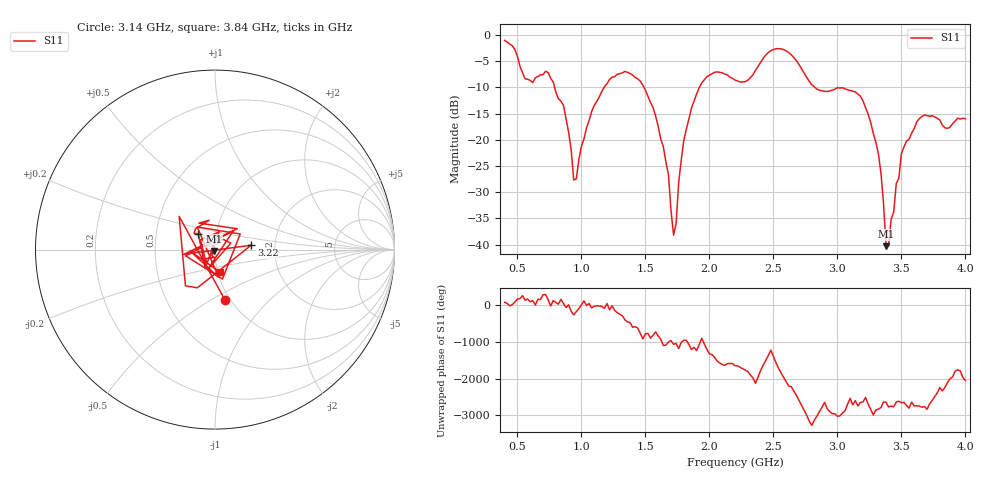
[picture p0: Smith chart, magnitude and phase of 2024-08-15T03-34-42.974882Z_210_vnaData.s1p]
!Created with skrf (http://scikit-rf.org).
# Hz S RI R 50.0
!freq ReS11 ImS11
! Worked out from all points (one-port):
!   181 points, 400 MHz to 4 GHz, reference 50 ohm
!   lowest |S11| = -40.3 dB at 3.38 GHz (marker M1), VSWR 1.02, Z = 49.5 - j0.816 ohm
!   |S11| at or under -10 dB: 790.6 MHz to 1.178 GHz (386.9 MHz wide, 39.3 % of centre); 1.488 GHz to 1.922 GHz (433.7 MHz wide, 25.4 % of centre); 2.825 GHz to end of sweep
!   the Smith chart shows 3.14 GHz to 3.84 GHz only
!   S11 on the Smith chart (normalised r, x): 3.14 GHz: 0.95, -0.58; 3.22 GHz: 1.50, +0.08; 3.6 GHz: 0.82, +0.15; 3.84 GHz: 1.03, -0.26
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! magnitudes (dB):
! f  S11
! 400 MHz  -1.1
! 560 MHz  -8.4
! 740 MHz  -7.2
! 860 MHz  -13.4
! 940 MHz  -27.7
! 960 MHz  -27.5
! 1.08 GHz  -14.6
! 1.3 GHz  -7.4
! 1.56 GHz  -13.9
! 1.68 GHz  -26.6
! 1.72 GHz  -38.2
! 1.76 GHz  -28.2
! 1.82 GHz  -18.0
! 1.94 GHz  -9.2
! 2.2 GHz  -8.6
! 2.5 GHz  -2.8
! 2.66 GHz  -4.3
! 2.84 GHz  -10.3
! 3.1 GHz  -10.6
! 3.14 GHz  -10.9
! 3.22 GHz  -13.8
! 3.32 GHz  -22.6
! 3.38 GHz  -40.3
! 3.5 GHz  -22.6
! 3.56 GHz  -19.9
! 3.6 GHz  -17.9
! 3.84 GHz  -17.7
! 4 GHz  -16.0
